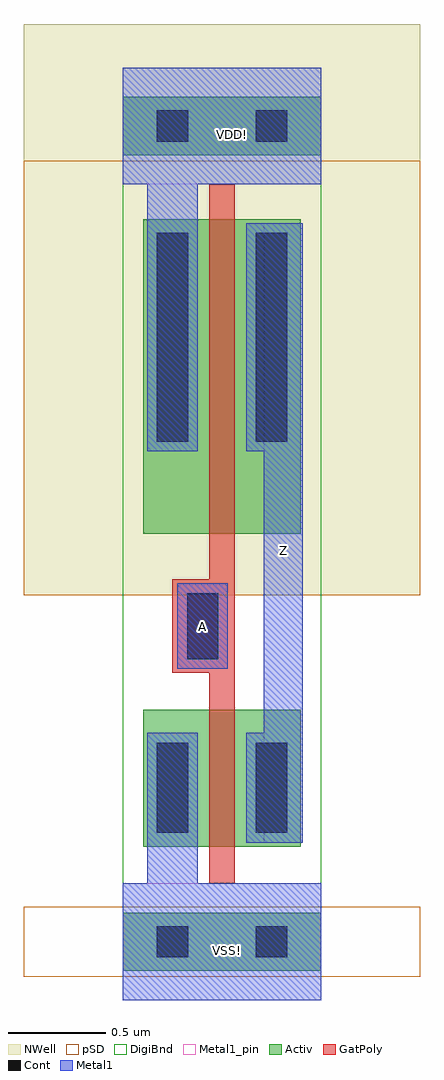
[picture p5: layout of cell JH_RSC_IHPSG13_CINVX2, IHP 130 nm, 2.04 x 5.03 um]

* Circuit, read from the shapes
.subckt JH_RSC_IHPSG13_CINVX2 A VDD! VSS! Z
XM1 Z A VSS! VSS! sg13_lv_nmos w=0.705u l=0.13u
XM2 Z A VDD! VDD! sg13_lv_pmos w=1.62u l=0.13u
.ends

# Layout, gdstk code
import gdstk
lib = gdstk.Library(unit=1e-6, precision=1e-09)
def R(c, l, rs):  # rectangles x0, y0, x1, y1
    for r in rs: c.add(gdstk.rectangle(r[:2], r[2:], *l))
def P(c, l, *ps):  # polygons
    for p in ps: c.add(gdstk.Polygon(p, *l))
Activ = (1, 0)
GatPoly = (5, 0)
Cont = (6, 0)
Metal1 = (8, 0)
Metal1_pin = (8, 2)
pSD = (14, 0)
DigiBnd = (16, 0)
NWell = (31, 0)

jh_rsc_ihpsg13_cinvx2 = lib.new_cell('JH_RSC_IHPSG13_CINVX2')
R(jh_rsc_ihpsg13_cinvx2, Activ, [(0,-0.15,1.02,0.15), (0.105,0.49,0.915,1.195), (0.105,2.1,0.915,3.72), (0,4.05,1.02,4.35)])
P(jh_rsc_ihpsg13_cinvx2, GatPoly, [(0.445,0.3),(0.445,1.385),(0.255,1.385),(0.255,1.865),(0.445,1.865),(0.445,3.9),(0.575,3.9),(0.575,0.3)])
R(jh_rsc_ihpsg13_cinvx2, Cont, [(0.175,-0.08,0.335,0.08), (0.685,-0.08,0.845,0.08), (0.175,0.56,0.335,1.025), (0.685,0.56,0.845,1.025), (0.33,1.455,0.49,1.795), (0.175,2.575,0.335,3.65), (0.685,2.575,0.845,3.65), (0.175,4.12,0.335,4.28), (0.685,4.12,0.845,4.28)])
R(jh_rsc_ihpsg13_cinvx2, Metal1, [(0.28,1.405,0.54,1.845)])
P(jh_rsc_ihpsg13_cinvx2, Metal1, [(0,-0.3),(0,0.3),(0.125,0.3),(0.125,1.075),(0.385,1.075),(0.385,0.3),(1.02,0.3),(1.02,-0.3)],
  [(0.125,2.525),(0.125,3.9),(0,3.9),(0,4.5),(1.02,4.5),(1.02,3.9),(0.385,3.9),(0.385,2.525)],
  [(0.635,0.51),(0.635,1.075),(0.725,1.075),(0.725,2.525),(0.635,2.525),(0.635,3.7),(0.925,3.7),(0.925,0.51)])
R(jh_rsc_ihpsg13_cinvx2, Metal1_pin, [(0,-0.3,1.02,0.3), (0.725,0.51,0.925,3.7), (0.28,1.405,0.54,1.845), (0,3.9,1.02,4.5)])
R(jh_rsc_ihpsg13_cinvx2, pSD, [(-0.51,-0.18,1.53,0.18), (-0.51,1.785,1.53,4.02)])
R(jh_rsc_ihpsg13_cinvx2, DigiBnd, [(0,-0.3,1.02,4.5)])
R(jh_rsc_ihpsg13_cinvx2, NWell, [(-0.51,1.785,1.53,4.725)])
jh_rsc_ihpsg13_cinvx2.add(gdstk.Label('Z', (0.825,2.015), layer=8, texttype=2))
jh_rsc_ihpsg13_cinvx2.add(gdstk.Label('A', (0.41,1.625), layer=8, texttype=2))
jh_rsc_ihpsg13_cinvx2.add(gdstk.Label('VSS!', (0.54,-0.045), layer=8, texttype=2))
jh_rsc_ihpsg13_cinvx2.add(gdstk.Label('VDD!', (0.565,4.155), layer=8, texttype=2))

lib.write_gds('JH_RSC_IHPSG13_CINVX2.gds')
